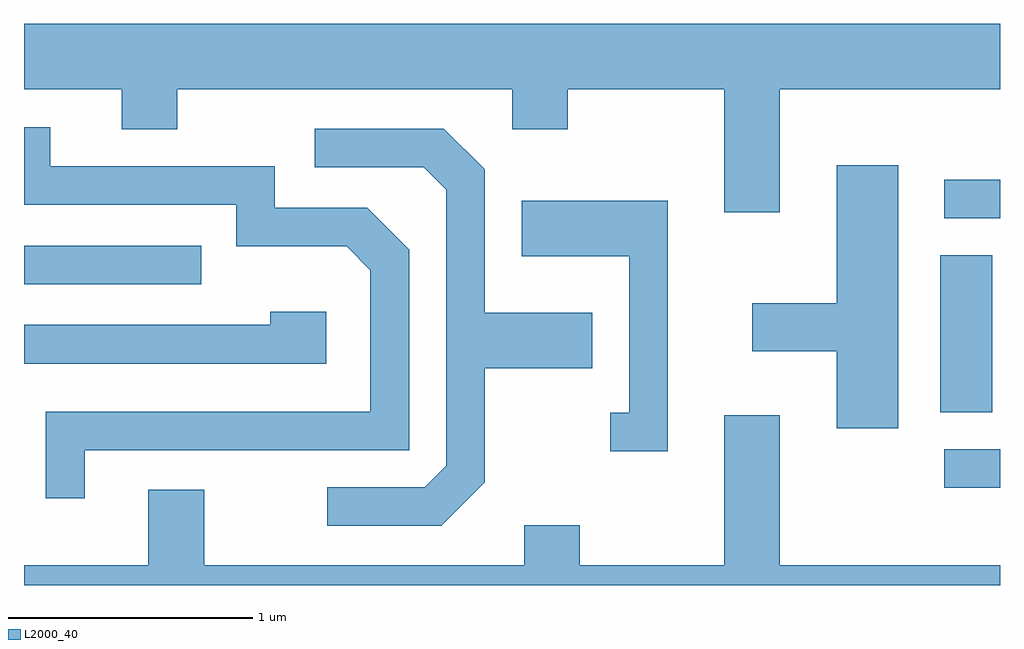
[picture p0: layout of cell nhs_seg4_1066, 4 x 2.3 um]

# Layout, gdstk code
import gdstk
lib = gdstk.Library(unit=1e-6, precision=1e-09)
def R(c, l, rs):  # rectangles x0, y0, x1, y1
    for r in rs: c.add(gdstk.rectangle(r[:2], r[2:], *l))
def P(c, l, *ps):  # polygons
    for p in ps: c.add(gdstk.Polygon(p, *l))
L2000_40 = (2000, 40)

nhs_seg4_1066 = lib.new_cell('nhs_seg4_1066')
R(nhs_seg4_1066, L2000_40, [(219.383,1346.381,219.611,1346.539), (219.366,1346.691,219.579,1347.334), (215.611,1347.216,216.338,1347.374), (219.383,1347.486,219.611,1347.644)])
P(nhs_seg4_1066, L2000_40, [(218.709,1348.016),(219.611,1348.016),(219.611,1348.284),(215.611,1348.284),(215.611,1348.016),(216.011,1348.016),(216.011,1347.851),(216.239,1347.851),(216.239,1348.016),(217.611,1348.016),(217.611,1347.851),(217.839,1347.851),(217.839,1348.016),(218.481,1348.016),(218.481,1347.511),(218.709,1347.511)],
  [(215.859,1346.536),(217.189,1346.536),(217.189,1347.357),(217.017,1347.529),(216.639,1347.529),(216.639,1347.699),(215.719,1347.699),(215.719,1347.859),(215.611,1347.859),(215.611,1347.541),(216.481,1347.541),(216.481,1347.371),(216.934,1347.371),(217.031,1347.274),(217.031,1346.694),(215.701,1346.694),(215.701,1346.338),(215.859,1346.338)],
  [(217.499,1346.404),(217.499,1346.871),(217.939,1346.871),(217.939,1347.099),(217.499,1347.099),(217.499,1347.687),(217.332,1347.854),(216.803,1347.854),(216.803,1347.696),(217.249,1347.696),(217.341,1347.604),(217.341,1346.472),(217.254,1346.384),(216.853,1346.384),(216.853,1346.226),(217.322,1346.226)],
  [(219.194,1347.704),(218.941,1347.704),(218.941,1347.139),(218.596,1347.139),(218.596,1346.941),(218.941,1346.941),(218.941,1346.626),(219.194,1346.626)],
  [(218.249,1347.559),(217.651,1347.559),(217.651,1347.331),(218.091,1347.331),(218.091,1346.689),(218.013,1346.689),(218.013,1346.531),(218.249,1346.531)],
  [(216.849,1347.104),(216.621,1347.104),(216.621,1347.049),(215.611,1347.049),(215.611,1346.891),(216.849,1346.891)],
  [(219.611,1346.064),(218.709,1346.064),(218.709,1346.679),(218.481,1346.679),(218.481,1346.064),(217.889,1346.064),(217.889,1346.229),(217.661,1346.229),(217.661,1346.064),(216.349,1346.064),(216.349,1346.374),(216.121,1346.374),(216.121,1346.064),(215.611,1346.064),(215.611,1345.982),(219.611,1345.982)])

lib.write_gds('nhs_seg4_1066.gds')
